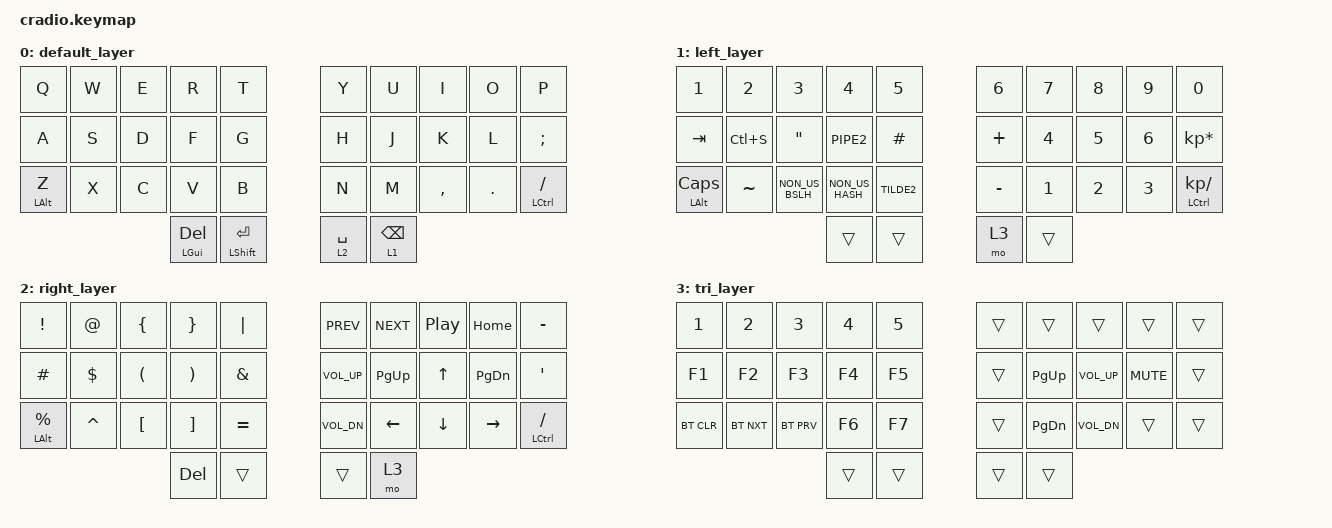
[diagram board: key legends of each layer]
/*
 * Copyright (c) 2020 The ZMK Contributors
 *
 * SPDX-License-Identifier: MIT
 */

#include <behaviors.dtsi>
#include <dt-bindings/zmk/keys.h>
#include <dt-bindings/zmk/bt.h>


&mt {
  //  flavor = "tap-preferred";
   // tapping_term_ms = <200>;
};

/ { 

    combos {
        compatible = "zmk,combos";
        combo_esc {
            timeout-ms = <15>;
            key-positions = <0 1>;
            bindings = <&kp ESC>;
        };
        
         combo_tab {
            timeout-ms = <15>;
            key-positions = <10 11>;
            bindings = <&kp TAB>;
        };
       
         combo_shift {
            timeout-ms = <15>;
            key-positions = <20 21>;
            bindings = <&kp LSHFT>;
        };
        
	combo_alt_del {
            timeout-ms = <15>;
            key-positions = <11 12>;
            bindings = <LA(&kp DEL)>;
        };
	
	combo_alt_bspc {
            timeout-ms = <15>;
            key-positions = <17 18>;
            bindings = <LA(&kp BSPC)>;
        };
	
	
    };

        keymap {
                compatible = "zmk,keymap";
                
       		default_layer {
		bindings = <
		&kp Q &kp W &kp E &kp R &kp T 						&kp Y &kp U  &kp I    &kp O   &kp P 
		&kp A &kp S &kp D &kp F &kp G 			        	        &kp H &kp J &kp K &kp L &kp SEMI
		&mt LALT Z &kp X &kp C &kp V &kp B				        &kp N &kp M  &kp COMMA &kp DOT &mt LCTRL SLASH
          				&mt LGUI DEL &mt LSHFT ENTER  				&lt 2 SPACE &lt 1 BSPC
		>;
		};

       		left_layer {
		bindings = <
		&kp N1  &kp N2    &kp N3    &kp N4    &kp N5		&kp N6 &kp N7 &kp N8 &kp N9 &kp N0 
		&kp TAB    &kp LC(S)    &kp DQT      &kp PIPE2     &kp HASH 		&kp PLUS &kp N4  &kp N5 &kp N6  &kp KP_ASTERISK 
		&mt LALT CAPS    &kp TILDE 	&kp NON_US_BSLH &kp NON_US_HASH  &kp TILDE2 	&kp MINUS &kp N1 &kp N2 &kp N3  &mt LCTRL KP_SLASH 
					    &trans  &trans  					&mo 3 &trans 
		>;
		};
		
		right_layer {
		bindings = <
		&kp EXCL  &kp AT &kp LBRC  &kp RBRC  &kp PIPE    			&kp C_PREV  &kp C_NEXT &kp C_PP &kp HOME &kp MINUS 
		&kp HASH  &kp DLLR  &kp LPAR  &kp RPAR  &kp AMPS 			&kp C_VOL_UP &kp PG_UP  &kp UP  &kp PG_DN   &kp APOS
		&mt LALT PRCNT  &kp CARET &kp LBKT &kp RBKT   &kp EQUAL    			&kp C_VOL_DN &kp LEFT &kp DOWN &kp RIGHT  &mt LCTRL SLASH
					  &kp DEL &trans  				&trans  &mo 3 
		>;
		};	
		
		tri_layer {
		bindings = <
		&kp N1  &kp N2    &kp N3    &kp N4    &kp N5 			&trans &trans   &trans   &trans  &trans
		&kp F1 &kp F2 &kp F3 &kp F4 &kp F5  						&trans &kp PG_UP  &kp K_VOL_UP &kp K_MUTE &trans 
		&bt BT_CLR  &bt BT_NXT &bt BT_PRV &kp F6 &kp F7   				&trans &kp PG_DN  &kp K_VOL_DN  &trans &trans   
					 &trans &trans  					&trans &trans 
		>;
		};	
        
	};
};
